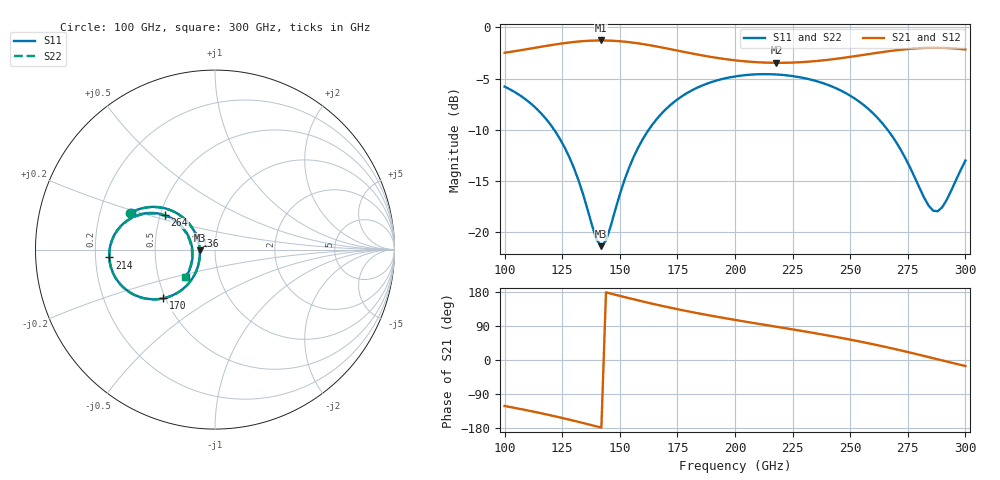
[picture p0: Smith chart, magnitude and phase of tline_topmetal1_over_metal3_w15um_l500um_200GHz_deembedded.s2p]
! Created with skrf 2.2.0 (http://scikit-rf.org).
# GHz S DB R 50.0
! Port[1] = P1
! Port[2] = P2
!freq dBS11 angS11 dBS21 angS21 dBS12 angS12 dBS22 angS22
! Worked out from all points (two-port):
!   101 points, 100 GHz to 300 GHz, reference 50 ohm
!   highest |S21| = -1.28 dB at 142 GHz (marker M1); lowest = -3.5 dB at 218 GHz (marker M2)
!   |S21| within 3 dB of the highest: start of sweep to end of sweep
!   lowest |S11| = -21.4 dB at 142 GHz (marker M3), VSWR 1.19, Z = 42.2 - j0.367 ohm
!   |S11| at or under -10 dB: 121.4 GHz to 162.6 GHz (41.18 GHz wide, 29 % of centre); 266.2 GHz to end of sweep
!   |S22| runs from -21.4 to -4.6 dB; largest |S21 - S12| = 9.9e-14
!   S11 on the Smith chart (normalised r, x): 100 GHz: 0.33, +0.19; 136 GHz: 0.80, +0.13; 170 GHz: 0.48, -0.31; 214 GHz: 0.26, -0.03; 264 GHz: 0.53, +0.23; 300 GHz: 0.69, -0.22
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100  -5.80 156.5  -2.48 -121.4  -2.48 -121.4  -5.80 156.6
120  -9.54 138.5  -1.74 -146.0  -1.74 -146.0  -9.54 138.7
128  -12.65 134.6  -1.48 -157.3  -1.48 -157.3  -12.65 134.7
134  -16.28 138.5  -1.34 -166.2  -1.34 -166.2  -16.28 138.7
136  -17.81 143.4  -1.31 -169.2  -1.31 -169.2  -17.81 143.5
140  -20.80 165.1  -1.28 -175.4  -1.28 -175.4  -20.80 165.3
142  -21.41 -177.1  -1.28 -178.4  -1.28 -178.4  -21.41 -177.0
144  -20.85 -159.2  -1.28 178.5  -1.28 178.5  -20.85 -159.1
156  -12.68 -127.9  -1.50 160.2  -1.50 160.2  -12.68 -127.8
168  -8.46 -135.2  -1.95 143.2  -1.95 143.2  -8.46 -135.0
170  -8.00 -136.9  -2.04 140.6  -2.04 140.6  -8.00 -136.7
184  -5.86 -149.9  -2.67 123.3  -2.67 123.3  -5.86 -149.6
200  -4.80 -164.1  -3.22 105.8  -3.22 105.8  -4.80 -163.8
214  -4.58 -175.8  -3.45 91.7  -3.45 91.7  -4.57 -175.5
218  -4.61 -179.0  -3.47 87.7  -3.47 87.7  -4.60 -178.7
234  -5.17 168.0  -3.31 71.5  -3.31 71.5  -5.17 168.4
250  -6.68 155.1  -2.88 53.8  -2.88 53.8  -6.67 155.6
264  -9.39 145.6  -2.41 36.2  -2.41 36.2  -9.37 146.2
268  -10.57 144.1  -2.29 30.8  -2.29 30.8  -10.54 144.8
286  -17.94 177.5  -1.99 4.8  -1.99 4.8  -17.75 178.0
290  -17.58 -161.3  -2.00 -1.2  -2.00 -1.2  -17.41 -161.4
300  -13.03 -136.8  -2.16 -15.9  -2.16 -15.9  -12.96 -137.1
